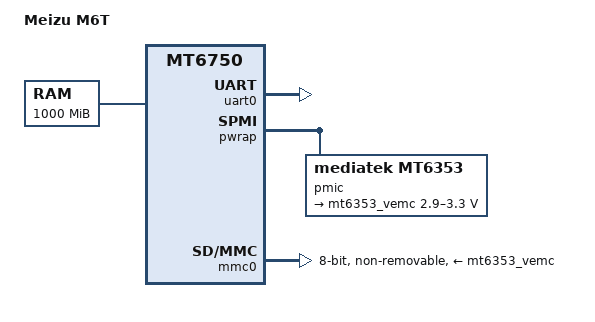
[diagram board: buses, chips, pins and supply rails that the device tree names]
// SPDX-License-Identifier: GPL-2.0-only
/*
 * Meizu M6T (m1811), MediaTek MT6750
 *
 * Storage-only port: pwrap + MT6353 VEMC + eMMC, plus UART0.
 *
 * SoC identity.  The appended DTB of the stock Flyme 7.0 boot image says
 *     model = "MT6755"; compatible = "mediatek,MT6755";
 * (dump-analysis/unpacked/m6t.dts:4-5) -- the MT6755 family name used by
 * every MT6750 vendor tree.  The board itself is MT6750: system/build.prop
 * reports ro.board.platform=mt6750, ro.mediatek.platform=MT6750,
 * chip_ver=S01, ro.product.device=MeizuM6T, ro.product.flyme.model=m1811;
 * the boot fingerprint is Meizu/full_wt6750_66_b_n/wt6750_66_b_n:7.0 and
 * the preloader is preloader_wt6750_66_b_n.bin (M6T_DUMP_ANALYSIS
 * 2026-07-22 sections 1-2).
 *
 * M6T and M6 share the boot geometry and the whole storage/PMIC layout;
 * only the board identity differs.
 */

/dts-v1/;

#include "mt6750.dtsi"
#include <dt-bindings/pinctrl/mt65xx.h>

/ {
	model = "Meizu M6T";
	chassis-type = "handset";
	compatible = "meizu,m6t", "mediatek,mt6750";

	aliases {
		serial0 = &uart0;
		mmc0 = &mmc0;
	};

	chosen {
		stdout-path = "serial0:921600n8";
	};

	/*
	 * Stock DTB value (m6t.dts:281-284).  LK rewrites the memory node
	 * from the EMI settings on every boot; no live M6T unit has been
	 * measured, so nothing beyond the vendor value is claimed.
	 */
	memory@40000000 {
		device_type = "memory";
		reg = <0 0x40000000 0 0x3e800000>;
	};

	reserved-memory {
		#address-cells = <2>;
		#size-cells = <2>;
		ranges;

		ram_console: ram-console@44400000 {
			reg = <0 0x44400000 0 0x10000>;
		};

		pstore: pstore@44410000 {
			reg = <0 0x44410000 0 0xe0000>;
		};

		minidump: minidump@444f0000 {
			reg = <0 0x444f0000 0 0x10000>;
		};

		atf: atf@44600000 {
			reg = <0 0x44600000 0 0x40000>;
			no-map;
		};

		preloader: preloader@44800000 {
			reg = <0 0x44800000 0 0x100000>;
		};

		lk: lk@46000000 {
			reg = <0 0x46000000 0 0x400000>;
		};

		/*
		 * Modem/connectivity reservations, sizes from the stock DTS
		 * (m6t.dts reserve-memory-ccci_md1, reserve-memory-ccci_share,
		 * consys-reserve-memory, spm-reserve-memory).  The modem is
		 * not driven by this kernel, but its firmware may still be
		 * live when Linux boots.
		 */
		modem-md1 {
			size = <0 0xa100000>;
			alignment = <0 0x2000000>;
			alloc-ranges = <0 0x40000000 0 0xc0000000>;
			no-map;
		};

		modem-share {
			size = <0 0x600000>;
			alignment = <0 0x4000000>;
			alloc-ranges = <0 0x40000000 0 0xc0000000>;
			no-map;
		};

		consys {
			size = <0 0x100000>;
			alignment = <0 0x200000>;
			alloc-ranges = <0 0x40000000 0 0x60000000>;
			no-map;
		};

		spm {
			size = <0 0x20000>;
			alignment = <0 0x10000>;
			alloc-ranges = <0 0x40000000 0 0x60000000>;
			no-map;
		};
	};
};

/*
 * UART0: GPIO105 = URXD0, GPIO106 = UTXD0, function 1
 * (mt6755-pinfunc.h).  The stock DTS uses the same pads
 * (m6t.dts uart0_rx_set@gpio105 = 0x6901, uart0_tx_set@gpio106 = 0x6a01).
 */
&pio {
	uart0_pins: uart0-pins {
		pins {
			pinmux = <(MTK_PIN_NO(105) | 1)>,
				 <(MTK_PIN_NO(106) | 1)>;
		};
	};
};

&uart0 {
	pinctrl-names = "default";
	pinctrl-0 = <&uart0_pins>;
	status = "okay";
};

/*
 * MT6353 PMIC, storage rails only.  Stock compatible is
 * "mediatek,mt6351-pmic", "mediatek,mt6353-pmic" (m6t.dts:1723-1724);
 * no interrupt is described, see the MT6353 note in
 * drivers/mfd/mt6397-core.c.  VEMC 2.9-3.3 V and boot-on are the stock
 * ldo_vemc values (m6t.dts:3894-3902).
 */
&pwrap {
	status = "okay";

	pmic: mt6353 {
		compatible = "mediatek,mt6353";
		#address-cells = <0>;

		regulators {
			mt6353_vemc: ldo-vemc {
				regulator-name = "vemc";
				regulator-min-microvolt = <2900000>;
				regulator-max-microvolt = <3300000>;
				regulator-always-on;
			};
		};
	};
};

/*
 * eMMC.  Stock MSDC0: bus-width 8, non-removable, vmmc-supply = VEMC
 * (m6t.dts msdc0@11230000, vmmc-supply phandle 0x05 = ldo_vemc).  The
 * stock node's HS200/HS400 flags are not carried over: there is no
 * vqmmc-supply in the stock tree and no proven 1.8 V rail for mainline.
 */
&mmc0 {
	vmmc-supply = <&mt6353_vemc>;
	bus-width = <8>;
	non-removable;
	no-sd;
	no-sdio;
	status = "okay";
};
